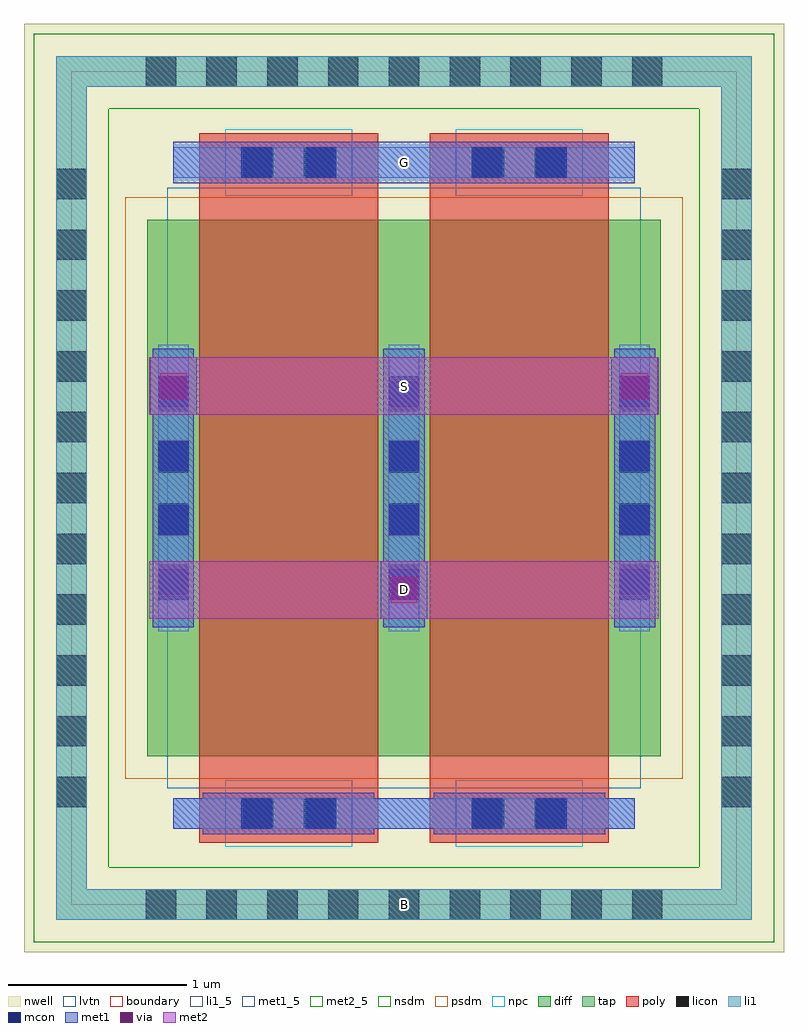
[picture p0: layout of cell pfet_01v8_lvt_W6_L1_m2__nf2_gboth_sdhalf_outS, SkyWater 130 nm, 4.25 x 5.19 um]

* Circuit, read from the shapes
.subckt pfet_01v8_lvt_W6_L1_m2__nf2_gboth_sdhalf_outS B D G S
XM1 D G S B sky130_fd_pr__pfet_01v8_lvt w=3 l=1 m=2
.ends

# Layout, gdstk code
import gdstk
lib = gdstk.Library(unit=1e-6, precision=1e-09)
def R(c, l, rs):  # rectangles x0, y0, x1, y1
    for r in rs: c.add(gdstk.rectangle(r[:2], r[2:], *l))
def A(c, l, x, y, w, h, nx, ny, dx, dy):  # array of equal rectangles
    R(c, l, [(x+i*dx, y+j*dy, x+i*dx+w, y+j*dy+h) for i in range(nx) for j in range(ny)])
nwell = (64, 20)
diff = (65, 20)
tap = (65, 44)
poly = (66, 20)
licon = (66, 44)
li1_5 = (67, 5)
li1 = (67, 20)
mcon = (67, 44)
met1_5 = (68, 5)
met1 = (68, 20)
via = (68, 44)
met2_5 = (69, 5)
met2 = (69, 20)
nsdm = (93, 44)
psdm = (94, 20)
npc = (95, 20)
lvtn = (125, 44)
boundary = (235, 4)

sky130_fd_pr__pfet_01v8_ = lib.new_cell('sky130_fd_pr__pfet_01v8_lvt_WSTBKT')
R(sky130_fd_pr__pfet_01v8_, nwell, [(-2.125,-2.595,2.125,2.595)])
R(sky130_fd_pr__pfet_01v8_, diff, [(-1.435,-1.5,1.435,1.5)])
R(sky130_fd_pr__pfet_01v8_, tap, [(-1.945,-2.415,1.945,-2.245), (-1.945,-2.245,-1.775,2.245), (1.775,-2.245,1.945,2.245), (-1.945,2.245,1.945,2.415)])
R(sky130_fd_pr__pfet_01v8_, poly, [(-1.145,-1.985,-0.145,1.985), (0.145,-1.985,1.145,1.985)])
A(sky130_fd_pr__pfet_01v8_, licon, -1.445, -2.415, 0.17, 0.17, 9, 2, 0.34, 4.66)
A(sky130_fd_pr__pfet_01v8_, licon, -1.945, -1.785, 0.17, 0.17, 1, 11, 0, 0.34)
A(sky130_fd_pr__pfet_01v8_, licon, 1.775, -1.785, 0.17, 0.17, 1, 11, 0, 0.34)
A(sky130_fd_pr__pfet_01v8_, licon, -1.375, -0.595, 0.17, 0.17, 3, 4, 1.29, 0.34)
R(sky130_fd_pr__pfet_01v8_, licon, [(-0.9,-1.905,-0.73,-1.735), (-0.56,-1.905,-0.39,-1.735), (0.39,-1.905,0.56,-1.735), (0.73,-1.905,0.9,-1.735), (-0.9,1.735,-0.73,1.905), (-0.56,1.735,-0.39,1.905), (0.39,1.735,0.56,1.905), (0.73,1.735,0.9,1.905)])
A(sky130_fd_pr__pfet_01v8_, li1, -1.375, -0.8, 0.17, 1.6, 3, 1, 1.29, 0)
R(sky130_fd_pr__pfet_01v8_, li1, [(-1.945,-2.415,1.945,-2.245), (-1.945,-2.245,-1.775,2.245), (1.775,-2.245,1.945,2.245), (-1.29,-1.905,1.29,-1.735), (-1.29,1.735,1.29,1.905), (-1.945,2.245,1.945,2.415)])
A(sky130_fd_pr__pfet_01v8_, mcon, -1.375, -0.625, 0.17, 0.17, 3, 4, 1.29, 0.36)
R(sky130_fd_pr__pfet_01v8_, mcon, [(-0.91,-1.905,-0.74,-1.735), (-0.55,-1.905,-0.38,-1.735), (0.38,-1.905,0.55,-1.735), (0.74,-1.905,0.91,-1.735), (-0.91,1.735,-0.74,1.905), (-0.55,1.735,-0.38,1.905), (0.38,1.735,0.55,1.905), (0.74,1.735,0.91,1.905)])
A(sky130_fd_pr__pfet_01v8_, met1, -1.405, -0.78, 0.23, 1.56, 3, 1, 1.29, 0)
R(sky130_fd_pr__pfet_01v8_, met1, [(-1.125,-1.935,-0.165,-1.905), (0.165,-1.935,1.125,-1.905), (-1.29,-1.905,1.29,-1.735), (-1.125,-1.735,-0.165,-1.705), (0.165,-1.735,1.125,-1.705), (-1.125,1.705,-0.165,1.735), (0.165,1.705,1.125,1.735), (-1.29,1.735,1.29,1.905), (-1.125,1.905,-0.165,1.935), (0.165,1.905,1.125,1.935)])
R(sky130_fd_pr__pfet_01v8_, nsdm, [(-2.07,-2.54,2.07,-2.12), (-2.07,-2.12,-1.65,2.12), (1.65,-2.12,2.07,2.12), (-2.07,2.12,2.07,2.54)])
R(sky130_fd_pr__pfet_01v8_, psdm, [(-1.56,-1.625,1.56,1.625)])
R(sky130_fd_pr__pfet_01v8_, npc, [(-1,-2.005,-0.29,-1.635), (0.29,-2.005,1,-1.635), (-1,1.635,-0.29,2.005), (0.29,1.635,1,2.005)])
R(sky130_fd_pr__pfet_01v8_, lvtn, [(-1.325,-1.68,1.325,1.68)])
R(sky130_fd_pr__pfet_01v8_, boundary, [(-1.86,-2.33,1.86,2.33)])
sky130_fd_pr__pfet_01v8_.add(gdstk.Label('B', (0,-2.33), layer=67, texttype=5))
sky130_fd_pr__pfet_01v8_.add(gdstk.Label('D0', (-1.29,0), layer=67, texttype=5))
sky130_fd_pr__pfet_01v8_.add(gdstk.Label('G', (0.645,1.82), layer=67, texttype=5))
sky130_fd_pr__pfet_01v8_.add(gdstk.Label('G', (-0.645,1.82), layer=67, texttype=5))
sky130_fd_pr__pfet_01v8_.add(gdstk.Label('S1', (0,0), layer=67, texttype=5))

pfet_01v8_lvt_w6_l1_m2__ = lib.new_cell('pfet_01v8_lvt_W6_L1_m2__nf2_gboth_sdhalf_outS')
R(pfet_01v8_lvt_w6_l1_m2__, li1_5, [(1.775,-0.085,1.945,0.085)])
R(pfet_01v8_lvt_w6_l1_m2__, li1, [(1.775,-0.085,1.945,0.085)])
R(pfet_01v8_lvt_w6_l1_m2__, met1_5, [(0.57,4.035,3.15,4.265)])
R(pfet_01v8_lvt_w6_l1_m2__, met1, [(1.73,1.6,1.99,1.92), (0.44,2.74,0.7,3.06), (3.02,2.74,3.28,3.06), (0.57,4.035,3.15,4.265)])
R(pfet_01v8_lvt_w6_l1_m2__, via, [(1.785,1.685,1.935,1.835), (0.495,2.825,0.645,2.975), (3.075,2.825,3.225,2.975)])
R(pfet_01v8_lvt_w6_l1_m2__, met2_5, [(0.435,1.6,3.285,1.92), (0.435,2.74,3.285,3.06)])
R(pfet_01v8_lvt_w6_l1_m2__, met2, [(0.435,1.6,3.285,1.92), (0.435,2.74,3.285,3.06)])
pfet_01v8_lvt_w6_l1_m2__.add(gdstk.Reference(sky130_fd_pr__pfet_01v8_, (1.86,2.33)))
pfet_01v8_lvt_w6_l1_m2__.add(gdstk.Label('S', (1.86,2.9), layer=69, texttype=5))
pfet_01v8_lvt_w6_l1_m2__.add(gdstk.Label('D', (1.86,1.76), layer=69, texttype=5))
pfet_01v8_lvt_w6_l1_m2__.add(gdstk.Label('G', (1.86,4.15), layer=68, texttype=5))
pfet_01v8_lvt_w6_l1_m2__.add(gdstk.Label('B', (1.86,0), layer=67, texttype=5))

lib.write_gds('pfet_01v8_lvt_W6_L1_m2__nf2_gboth_sdhalf_outS.gds')
